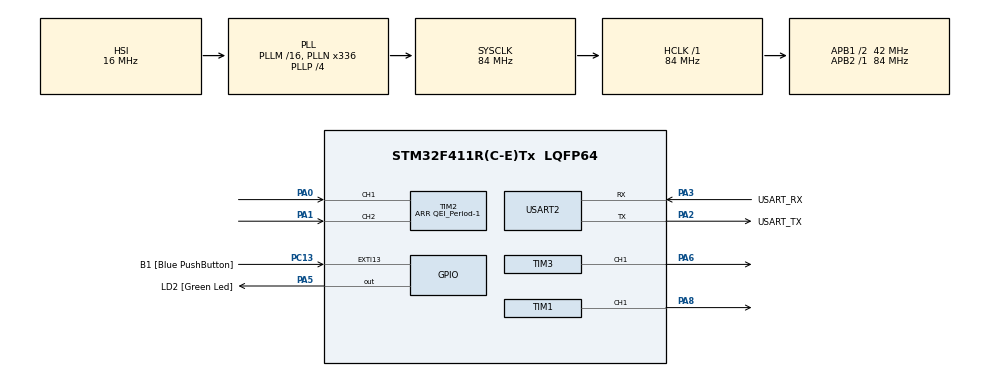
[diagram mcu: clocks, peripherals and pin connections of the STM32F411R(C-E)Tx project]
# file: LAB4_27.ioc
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Mcu.Family=STM32F4
Mcu.Name=STM32F411R(C-E)Tx
Mcu.Package=LQFP64
Mcu.UserConstants=QEI_Period,307200
NVIC.PriorityGroup=NVIC_PRIORITYGROUP_0
NVIC.TIM5_IRQn=true\:0\:0\:false\:false\:true\:true\:true\:true
PA0-WKUP.Signal=S_TIM2_CH1_ETR
PA1.Signal=S_TIM2_CH2
PA13.GPIO_Label=TMS
PA13.Mode=Trace_Asynchronous_SW
PA13.Signal=SYS_JTMS-SWDIO
PA14.GPIO_Label=TCK
PA14.Mode=Trace_Asynchronous_SW
PA14.Signal=SYS_JTCK-SWCLK
PA2.GPIO_Label=USART_TX
PA2.Mode=Asynchronous
PA2.Signal=USART2_TX
PA3.GPIO_Label=USART_RX
PA3.Mode=Asynchronous
PA3.Signal=USART2_RX
PA5.GPIO_Label=LD2 [Green Led]
PA5.Signal=GPIO_Output
PA6.Signal=S_TIM3_CH1
PA8.Signal=S_TIM1_CH1
PB3.GPIO_Label=SWO
PB3.Mode=Trace_Asynchronous_SW
PB3.Signal=SYS_JTDO-SWO
PC13-ANTI_TAMP.GPIO_Label=B1 [Blue PushButton]
PC13-ANTI_TAMP.GPIO_ModeDefaultEXTI=GPIO_MODE_IT_FALLING
PC13-ANTI_TAMP.Signal=GPXTI13
PC14-OSC32_IN.Mode=LSE-External-Oscillator
PC14-OSC32_IN.Signal=RCC_OSC32_IN
PC15-OSC32_OUT.Mode=LSE-External-Oscillator
PC15-OSC32_OUT.Signal=RCC_OSC32_OUT
PH0\ -\ OSC_IN.Mode=HSE-External-Clock-Source
PH0\ -\ OSC_IN.Signal=RCC_OSC_IN
PH1\ -\ OSC_OUT.Mode=HSE-External-Clock-Source
PH1\ -\ OSC_OUT.Signal=RCC_OSC_OUT
ProjectManager.HeapSize=0x200
ProjectManager.StackSize=0x400
ProjectManager.TargetToolchain=STM32CubeIDE
RCC.48MHZClocksFreq_Value=84000000
RCC.AHBFreq_Value=84000000
RCC.APB1CLKDivider=RCC_HCLK_DIV2
RCC.APB1Freq_Value=42000000
RCC.APB1TimFreq_Value=84000000
RCC.APB2Freq_Value=84000000
RCC.APB2TimFreq_Value=84000000
RCC.CortexFreq_Value=84000000
RCC.FLatency-AdvancedSettings=FLASH_LATENCY_2
RCC.HCLKFreq_Value=84000000
RCC.HSE_VALUE=8000000
RCC.HSI_VALUE=16000000
RCC.PLLN=336
RCC.PLLP=RCC_PLLP_DIV4
RCC.SYSCLKFreq_VALUE=84000000
RCC.SYSCLKSource=RCC_SYSCLKSOURCE_PLLCLK
RCC.VCOOutputFreq_Value=336000000
SH.S_TIM1_CH1.0=TIM1_CH1,PWM Generation1 CH1
SH.S_TIM2_CH1_ETR.0=TIM2_CH1,Encoder_Interface
SH.S_TIM2_CH2.0=TIM2_CH2,Encoder_Interface
SH.S_TIM3_CH1.0=TIM3_CH1,PWM Generation1 CH1
TIM1.Channel-PWM\ Generation1\ CH1=TIM_CHANNEL_1
TIM1.Period=100
TIM1.Prescaler=83
TIM1.Pulse-PWM\ Generation1\ CH1=50
TIM2.EncoderMode=TIM_ENCODERMODE_TI12
TIM2.Period=QEI_Period-1
TIM3.Channel-PWM\ Generation1\ CH1=TIM_CHANNEL_1
TIM3.Period=100
TIM3.Prescaler=83
TIM3.Pulse-PWM\ Generation1\ CH1=50
USART2.VirtualMode=VM_ASYNC
VP_TIM1_VS_ClockSourceINT.Mode=Internal
VP_TIM3_VS_ClockSourceINT.Mode=Internal
VP_TIM5_VS_ClockSourceINT.Mode=Internal
board=NUCLEO-F411RE

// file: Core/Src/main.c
/* USER CODE BEGIN Header */
/**
  ******************************************************************************
  * @file           : main.c
  * @brief          : Main program body
  ******************************************************************************
  * @attention
  *
  * Copyright (c) 2023 STMicroelectronics.
  * All rights reserved.
  *
  * This software is licensed under terms that can be found in the LICENSE file
  * in the root directory of this software component.
  * If no LICENSE file comes with this software, it is provided AS-IS.
  *
  ******************************************************************************
  */
/* USER CODE END Header */
#include "main.h"

/* USER CODE BEGIN Includes */
#include "arm_math.h"
/* USER CODE END Includes */

TIM_HandleTypeDef htim1;
TIM_HandleTypeDef htim2;
TIM_HandleTypeDef htim3;
TIM_HandleTypeDef htim5;

UART_HandleTypeDef huart2;

/* USER CODE BEGIN PV */
arm_pid_instance_f32 PID = {0};
float position = 0;
float setposition = 0;
float Vfeedback = 0;
float e = 0;
float setP = 0;
float finalP = 0;
float counterPosition = 0;
/* USER CODE END PV */

void SystemClock_Config(void);
static void MX_GPIO_Init(void);
static void MX_USART2_UART_Init(void);
static void MX_TIM3_Init(void);
static void MX_TIM5_Init(void);
static void MX_TIM1_Init(void);
static void MX_TIM2_Init(void);
/* USER CODE BEGIN PFP */
float PlantSimulation(float VIn);
/* USER CODE END PFP */

int main(void)
{

  /* MCU Configuration--------------------------------------------------------*/

  /* Reset of all peripherals, Initializes the Flash interface and the Systick. */
  HAL_Init();

  /* Configure the system clock */
  SystemClock_Config();

  /* Initialize all configured peripherals */
  MX_GPIO_Init();
  MX_USART2_UART_Init();
  MX_TIM3_Init();
  MX_TIM5_Init();
  MX_TIM1_Init();
  MX_TIM2_Init();
  /* USER CODE BEGIN 2 */
  HAL_TIM_Encoder_Start(&htim2, TIM_CHANNEL_1|TIM_CHANNEL_2);
  HAL_TIM_Base_Start(&htim5);

  HAL_TIM_Base_Start(&htim1);
  HAL_TIM_PWM_Start(&htim1, TIM_CHANNEL_1);

  HAL_TIM_Base_Start(&htim3);
  HAL_TIM_PWM_Start(&htim3, TIM_CHANNEL_1);

  PID.Kp = 47;
  PID.Ki = 0.000000001;
  PID.Kd = 20;
  arm_pid_init_f32(&PID, 0);
  /* USER CODE END 2 */

  /* Infinite loop */
  while (1)
  {

    /* USER CODE BEGIN 3 */
	static uint32_t timestep = 0;
	if (timestep < HAL_GetTick())
	{
		timestep = HAL_GetTick() + 10;

		setposition = setP+10;

		counterPosition = __HAL_TIM_GET_COUNTER(&htim2);
		position = (counterPosition*36020)/307200;

		finalP = position-10;

		Vfeedback = arm_pid_f32(&PID, setposition - position);

		e = setposition - position;
		if(Vfeedback > 100)
		{
			Vfeedback = 100;
		}
		if(Vfeedback < -100)
		{
			Vfeedback = 100;
		}
		if(!(e < 1 && e > -1))
		{
			if(e > 0)
			{
				__HAL_TIM_SET_COMPARE(&htim1, TIM_CHANNEL_1, Vfeedback);
				__HAL_TIM_SET_COMPARE(&htim1, TIM_CHANNEL_3, 0);
			}
			else if(e < 0)
			{
				__HAL_TIM_SET_COMPARE(&htim1, TIM_CHANNEL_1, 0);
				__HAL_TIM_SET_COMPARE(&htim1, TIM_CHANNEL_3, -Vfeedback);
			}
		}
	}
  }
  /* USER CODE END 3 */
}

void SystemClock_Config(void)
{
  RCC_OscInitTypeDef RCC_OscInitStruct = {0};
  RCC_ClkInitTypeDef RCC_ClkInitStruct = {0};

  /** Configure the main internal regulator output voltage
  */
  __HAL_RCC_PWR_CLK_ENABLE();
  __HAL_PWR_VOLTAGESCALING_CONFIG(PWR_REGULATOR_VOLTAGE_SCALE1);

  /** Initializes the RCC Oscillators according to the specified parameters
  * in the RCC_OscInitTypeDef structure.
  */
  RCC_OscInitStruct.OscillatorType = RCC_OSCILLATORTYPE_HSI;
  RCC_OscInitStruct.HSIState = RCC_HSI_ON;
  RCC_OscInitStruct.HSICalibrationValue = RCC_HSICALIBRATION_DEFAULT;
  RCC_OscInitStruct.PLL.PLLState = RCC_PLL_ON;
  RCC_OscInitStruct.PLL.PLLSource = RCC_PLLSOURCE_HSI;
  RCC_OscInitStruct.PLL.PLLM = 16;
  RCC_OscInitStruct.PLL.PLLN = 336;
  RCC_OscInitStruct.PLL.PLLP = RCC_PLLP_DIV4;
  RCC_OscInitStruct.PLL.PLLQ = 4;
  if (HAL_RCC_OscConfig(&RCC_OscInitStruct) != HAL_OK)
  {
    Error_Handler();
  }

  /** Initializes the CPU, AHB and APB buses clocks
  */
  RCC_ClkInitStruct.ClockType = RCC_CLOCKTYPE_HCLK|RCC_CLOCKTYPE_SYSCLK
                              |RCC_CLOCKTYPE_PCLK1|RCC_CLOCKTYPE_PCLK2;
  RCC_ClkInitStruct.SYSCLKSource = RCC_SYSCLKSOURCE_PLLCLK;
  RCC_ClkInitStruct.AHBCLKDivider = RCC_SYSCLK_DIV1;
  RCC_ClkInitStruct.APB1CLKDivider = RCC_HCLK_DIV2;
  RCC_ClkInitStruct.APB2CLKDivider = RCC_HCLK_DIV1;

  if (HAL_RCC_ClockConfig(&RCC_ClkInitStruct, FLASH_LATENCY_2) != HAL_OK)
  {
    Error_Handler();
  }
}

static void MX_TIM1_Init(void)
{

  TIM_ClockConfigTypeDef sClockSourceConfig = {0};
  TIM_MasterConfigTypeDef sMasterConfig = {0};
  TIM_OC_InitTypeDef sConfigOC = {0};
  TIM_BreakDeadTimeConfigTypeDef sBreakDeadTimeConfig = {0};

  htim1.Instance = TIM1;
  htim1.Init.Prescaler = 83;
  htim1.Init.CounterMode = TIM_COUNTERMODE_UP;
  htim1.Init.Period = 100;
  htim1.Init.ClockDivision = TIM_CLOCKDIVISION_DIV1;
  htim1.Init.RepetitionCounter = 0;
  htim1.Init.AutoReloadPreload = TIM_AUTORELOAD_PRELOAD_DISABLE;
  if (HAL_TIM_Base_Init(&htim1) != HAL_OK)
  {
    Error_Handler();
  }
  sClockSourceConfig.ClockSource = TIM_CLOCKSOURCE_INTERNAL;
  if (HAL_TIM_ConfigClockSource(&htim1, &sClockSourceConfig) != HAL_OK)
  {
    Error_Handler();
  }
  if (HAL_TIM_PWM_Init(&htim1) != HAL_OK)
  {
    Error_Handler();
  }
  sMasterConfig.MasterOutputTrigger = TIM_TRGO_RESET;
  sMasterConfig.MasterSlaveMode = TIM_MASTERSLAVEMODE_DISABLE;
  if (HAL_TIMEx_MasterConfigSynchronization(&htim1, &sMasterConfig) != HAL_OK)
  {
    Error_Handler();
  }
  sConfigOC.OCMode = TIM_OCMODE_PWM1;
  sConfigOC.Pulse = 50;
  sConfigOC.OCPolarity = TIM_OCPOLARITY_HIGH;
  sConfigOC.OCNPolarity = TIM_OCNPOLARITY_HIGH;
  sConfigOC.OCFastMode = TIM_OCFAST_DISABLE;
  sConfigOC.OCIdleState = TIM_OCIDLESTATE_RESET;
  sConfigOC.OCNIdleState = TIM_OCNIDLESTATE_RESET;
  if (HAL_TIM_PWM_ConfigChannel(&htim1, &sConfigOC, TIM_CHANNEL_1) != HAL_OK)
  {
    Error_Handler();
  }
  sBreakDeadTimeConfig.OffStateRunMode = TIM_OSSR_DISABLE;
  sBreakDeadTimeConfig.OffStateIDLEMode = TIM_OSSI_DISABLE;
  sBreakDeadTimeConfig.LockLevel = TIM_LOCKLEVEL_OFF;
  sBreakDeadTimeConfig.DeadTime = 0;
  sBreakDeadTimeConfig.BreakState = TIM_BREAK_DISABLE;
  sBreakDeadTimeConfig.BreakPolarity = TIM_BREAKPOLARITY_HIGH;
  sBreakDeadTimeConfig.AutomaticOutput = TIM_AUTOMATICOUTPUT_DISABLE;
  if (HAL_TIMEx_ConfigBreakDeadTime(&htim1, &sBreakDeadTimeConfig) != HAL_OK)
  {
    Error_Handler();
  }
  HAL_TIM_MspPostInit(&htim1);

}

static void MX_TIM2_Init(void)
{

  TIM_Encoder_InitTypeDef sConfig = {0};
  TIM_MasterConfigTypeDef sMasterConfig = {0};

  htim2.Instance = TIM2;
  htim2.Init.Prescaler = 0;
  htim2.Init.CounterMode = TIM_COUNTERMODE_UP;
  htim2.Init.Period = QEI_Period-1;
  htim2.Init.ClockDivision = TIM_CLOCKDIVISION_DIV1;
  htim2.Init.AutoReloadPreload = TIM_AUTORELOAD_PRELOAD_DISABLE;
  sConfig.EncoderMode = TIM_ENCODERMODE_TI12;
  sConfig.IC1Polarity = TIM_ICPOLARITY_RISING;
  sConfig.IC1Selection = TIM_ICSELECTION_DIRECTTI;
  sConfig.IC1Prescaler = TIM_ICPSC_DIV1;
  sConfig.IC1Filter = 0;
  sConfig.IC2Polarity = TIM_ICPOLARITY_RISING;
  sConfig.IC2Selection = TIM_ICSELECTION_DIRECTTI;
  sConfig.IC2Prescaler = TIM_ICPSC_DIV1;
  sConfig.IC2Filter = 0;
  if (HAL_TIM_Encoder_Init(&htim2, &sConfig) != HAL_OK)
  {
    Error_Handler();
  }
  sMasterConfig.MasterOutputTrigger = TIM_TRGO_RESET;
  sMasterConfig.MasterSlaveMode = TIM_MASTERSLAVEMODE_DISABLE;
  if (HAL_TIMEx_MasterConfigSynchronization(&htim2, &sMasterConfig) != HAL_OK)
  {
    Error_Handler();
  }

}

static void MX_TIM3_Init(void)
{

  TIM_ClockConfigTypeDef sClockSourceConfig = {0};
  TIM_MasterConfigTypeDef sMasterConfig = {0};
  TIM_OC_InitTypeDef sConfigOC = {0};

  htim3.Instance = TIM3;
  htim3.Init.Prescaler = 83;
  htim3.Init.CounterMode = TIM_COUNTERMODE_UP;
  htim3.Init.Period = 100;
  htim3.Init.ClockDivision = TIM_CLOCKDIVISION_DIV1;
  htim3.Init.AutoReloadPreload = TIM_AUTORELOAD_PRELOAD_DISABLE;
  if (HAL_TIM_Base_Init(&htim3) != HAL_OK)
  {
    Error_Handler();
  }
  sClockSourceConfig.ClockSource = TIM_CLOCKSOURCE_INTERNAL;
  if (HAL_TIM_ConfigClockSource(&htim3, &sClockSourceConfig) != HAL_OK)
  {
    Error_Handler();
  }
  if (HAL_TIM_PWM_Init(&htim3) != HAL_OK)
  {
    Error_Handler();
  }
  sMasterConfig.MasterOutputTrigger = TIM_TRGO_RESET;
  sMasterConfig.MasterSlaveMode = TIM_MASTERSLAVEMODE_DISABLE;
  if (HAL_TIMEx_MasterConfigSynchronization(&htim3, &sMasterConfig) != HAL_OK)
  {
    Error_Handler();
  }
  sConfigOC.OCMode = TIM_OCMODE_PWM1;
  sConfigOC.Pulse = 50;
  sConfigOC.OCPolarity = TIM_OCPOLARITY_HIGH;
  sConfigOC.OCFastMode = TIM_OCFAST_DISABLE;
  if (HAL_TIM_PWM_ConfigChannel(&htim3, &sConfigOC, TIM_CHANNEL_1) != HAL_OK)
  {
    Error_Handler();
  }
  HAL_TIM_MspPostInit(&htim3);

}

static void MX_TIM5_Init(void)
{

  TIM_ClockConfigTypeDef sClockSourceConfig = {0};
  TIM_MasterConfigTypeDef sMasterConfig = {0};

  htim5.Instance = TIM5;
  htim5.Init.Prescaler = 0;
  htim5.Init.CounterMode = TIM_COUNTERMODE_UP;
  htim5.Init.Period = 4294967295;
  htim5.Init.ClockDivision = TIM_CLOCKDIVISION_DIV1;
  htim5.Init.AutoReloadPreload = TIM_AUTORELOAD_PRELOAD_DISABLE;
  if (HAL_TIM_Base_Init(&htim5) != HAL_OK)
  {
    Error_Handler();
  }
  sClockSourceConfig.ClockSource = TIM_CLOCKSOURCE_INTERNAL;
  if (HAL_TIM_ConfigClockSource(&htim5, &sClockSourceConfig) != HAL_OK)
  {
    Error_Handler();
  }
  sMasterConfig.MasterOutputTrigger = TIM_TRGO_RESET;
  sMasterConfig.MasterSlaveMode = TIM_MASTERSLAVEMODE_DISABLE;
  if (HAL_TIMEx_MasterConfigSynchronization(&htim5, &sMasterConfig) != HAL_OK)
  {
    Error_Handler();
  }

}

static void MX_USART2_UART_Init(void)
{

  huart2.Instance = USART2;
  huart2.Init.BaudRate = 115200;
  huart2.Init.WordLength = UART_WORDLENGTH_8B;
  huart2.Init.StopBits = UART_STOPBITS_1;
  huart2.Init.Parity = UART_PARITY_NONE;
  huart2.Init.Mode = UART_MODE_TX_RX;
  huart2.Init.HwFlowCtl = UART_HWCONTROL_NONE;
  huart2.Init.OverSampling = UART_OVERSAMPLING_16;
  if (HAL_UART_Init(&huart2) != HAL_OK)
  {
    Error_Handler();
  }

}

static void MX_GPIO_Init(void)
{
  GPIO_InitTypeDef GPIO_InitStruct = {0};

  /* GPIO Ports Clock Enable */
  __HAL_RCC_GPIOC_CLK_ENABLE();
  __HAL_RCC_GPIOH_CLK_ENABLE();
  __HAL_RCC_GPIOA_CLK_ENABLE();
  __HAL_RCC_GPIOB_CLK_ENABLE();

  /*Configure GPIO pin Output Level */
  HAL_GPIO_WritePin(LD2_GPIO_Port, LD2_Pin, GPIO_PIN_RESET);

  /*Configure GPIO pin : B1_Pin */
  GPIO_InitStruct.Pin = B1_Pin;
  GPIO_InitStruct.Mode = GPIO_MODE_IT_FALLING;
  GPIO_InitStruct.Pull = GPIO_NOPULL;
  HAL_GPIO_Init(B1_GPIO_Port, &GPIO_InitStruct);

  /*Configure GPIO pin : LD2_Pin */
  GPIO_InitStruct.Pin = LD2_Pin;
  GPIO_InitStruct.Mode = GPIO_MODE_OUTPUT_PP;
  GPIO_InitStruct.Pull = GPIO_NOPULL;
  GPIO_InitStruct.Speed = GPIO_SPEED_FREQ_LOW;
  HAL_GPIO_Init(LD2_GPIO_Port, &GPIO_InitStruct);

}

void Error_Handler(void)
{
  __disable_irq();
  while (1)
  {
  }
}
